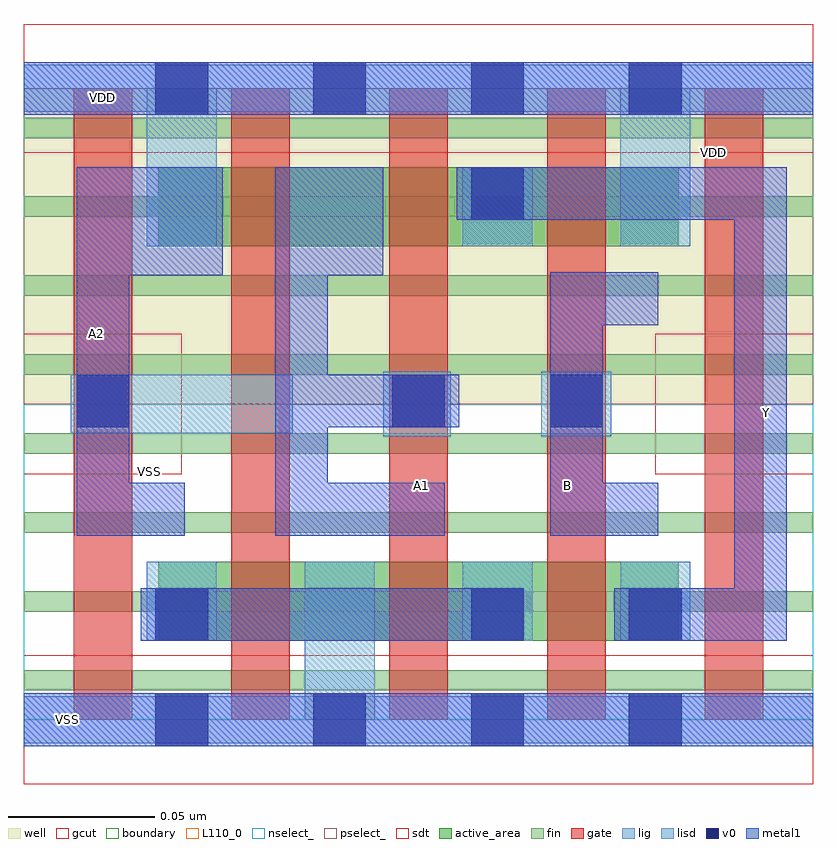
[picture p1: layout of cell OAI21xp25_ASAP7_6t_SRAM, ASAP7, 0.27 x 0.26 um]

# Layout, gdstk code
import gdstk
lib = gdstk.Library(unit=1e-6, precision=2.5e-10)
def R(c, l, rs):  # rectangles x0, y0, x1, y1
    for r in rs: c.add(gdstk.rectangle(r[:2], r[2:], *l))
def A(c, l, x, y, w, h, nx, ny, dx, dy):  # array of equal rectangles
    R(c, l, [(x+i*dx, y+j*dy, x+i*dx+w, y+j*dy+h) for i in range(nx) for j in range(ny)])
def P(c, l, *ps):  # polygons
    for p in ps: c.add(gdstk.Polygon(p, *l))
well = (1, 0)
fin = (2, 0)
gate = (7, 0)
gcut = (10, 0)
active_area = (11, 0)
nselect_ = (12, 0)
pselect_ = (13, 0)
lig = (16, 0)
lisd = (17, 0)
v0 = (18, 0)
metal1 = (19, 0)
sdt = (88, 0)
boundary = (100, 0)
L110_0 = (110, 0)

oai21xp25_asap7_6t_sram = lib.new_cell('OAI21xp25_ASAP7_6t_SRAM')
R(oai21xp25_asap7_6t_sram, well, [(0,0.108,0.27,0.216)])
A(oai21xp25_asap7_6t_sram, fin, 0, 0.01, 0.27, 0.007, 1, 8, 0, 0.027)
A(oai21xp25_asap7_6t_sram, gate, 0.017, 0, 0.02, 0.216, 5, 1, 0.054, 0)
R(oai21xp25_asap7_6t_sram, gcut, [(0,-0.022,0.27,0.022), (0,0.084,0.054,0.132), (0.216,0.084,0.27,0.132), (0,0.194,0.27,0.238)])
R(oai21xp25_asap7_6t_sram, active_area, [(0.046,0.027,0.224,0.054), (0.046,0.162,0.224,0.189)])
R(oai21xp25_asap7_6t_sram, nselect_, [(0,0,0.27,0.108)])
R(oai21xp25_asap7_6t_sram, pselect_, [(0,0.108,0.27,0.216)])
R(oai21xp25_asap7_6t_sram, lig, [(0,-0.008,0.27,0.008), (0.123,0.097,0.146,0.119), (0.177,0.097,0.201,0.119), (0.016,0.098,0.092,0.118), (0,0.208,0.27,0.224)])
R(oai21xp25_asap7_6t_sram, lisd, [(0.096,0,0.12,0.054), (0.042,0.027,0.066,0.054), (0.15,0.027,0.174,0.054), (0.204,0.027,0.228,0.054), (0.042,0.162,0.066,0.216), (0.15,0.162,0.174,0.189), (0.204,0.162,0.228,0.216)])
A(oai21xp25_asap7_6t_sram, v0, 0.045, -0.009, 0.018, 0.018, 4, 2, 0.054, 0.216)
R(oai21xp25_asap7_6t_sram, v0, [(0.045,0.027,0.063,0.045), (0.153,0.027,0.171,0.045), (0.207,0.027,0.225,0.045), (0.018,0.1,0.036,0.118), (0.126,0.1,0.144,0.118), (0.18,0.1,0.198,0.118), (0.153,0.171,0.171,0.189)])
R(oai21xp25_asap7_6t_sram, metal1, [(0,-0.009,0.27,0.009), (0.04,0.027,0.171,0.045), (0,0.207,0.27,0.225)])
P(oai21xp25_asap7_6t_sram, metal1, [(0.261,0.027),(0.202,0.027),(0.202,0.045),(0.243,0.045),(0.243,0.171),(0.148,0.171),(0.148,0.189),(0.261,0.189)],
  [(0.217,0.135),(0.198,0.135),(0.198,0.081),(0.217,0.081),(0.217,0.063),(0.18,0.063),(0.18,0.153),(0.217,0.153)],
  [(0.149,0.1),(0.104,0.1),(0.104,0.081),(0.144,0.081),(0.144,0.063),(0.086,0.063),(0.086,0.189),(0.123,0.189),(0.123,0.152),(0.104,0.152),(0.104,0.118),(0.149,0.118)],
  [(0.068,0.152),(0.036,0.152),(0.036,0.081),(0.055,0.081),(0.055,0.063),(0.018,0.063),(0.018,0.189),(0.068,0.189)])
A(oai21xp25_asap7_6t_sram, sdt, 0.042, 0.027, 0.024, 0.027, 4, 1, 0.054, 0)
R(oai21xp25_asap7_6t_sram, sdt, [(0.042,0.162,0.066,0.189), (0.15,0.162,0.174,0.189), (0.204,0.162,0.228,0.216)])
R(oai21xp25_asap7_6t_sram, boundary, [(0,0,0.27,0.216)])
R(oai21xp25_asap7_6t_sram, L110_0, [(0,0,0.27,0.216)])
oai21xp25_asap7_6t_sram.add(gdstk.Label('A2', (0.025,0.132), layer=19, texttype=251))
oai21xp25_asap7_6t_sram.add(gdstk.Label('Y', (0.254,0.105), layer=19, texttype=251))
oai21xp25_asap7_6t_sram.add(gdstk.Label('VSS', (0.015,0), layer=19, texttype=251))
oai21xp25_asap7_6t_sram.add(gdstk.Label('VDD', (0.027,0.213), layer=19, texttype=251))
oai21xp25_asap7_6t_sram.add(gdstk.Label('B', (0.186,0.08), layer=19, texttype=251))
oai21xp25_asap7_6t_sram.add(gdstk.Label('A1', (0.136,0.08), layer=19, texttype=251))
oai21xp25_asap7_6t_sram.add(gdstk.Label('VDD', (0.236,0.194), layer=1, texttype=251))
oai21xp25_asap7_6t_sram.add(gdstk.Label('VSS', (0.043,0.085), layer=3, texttype=251))

lib.write_gds('OAI21xp25_ASAP7_6t_SRAM.gds')
